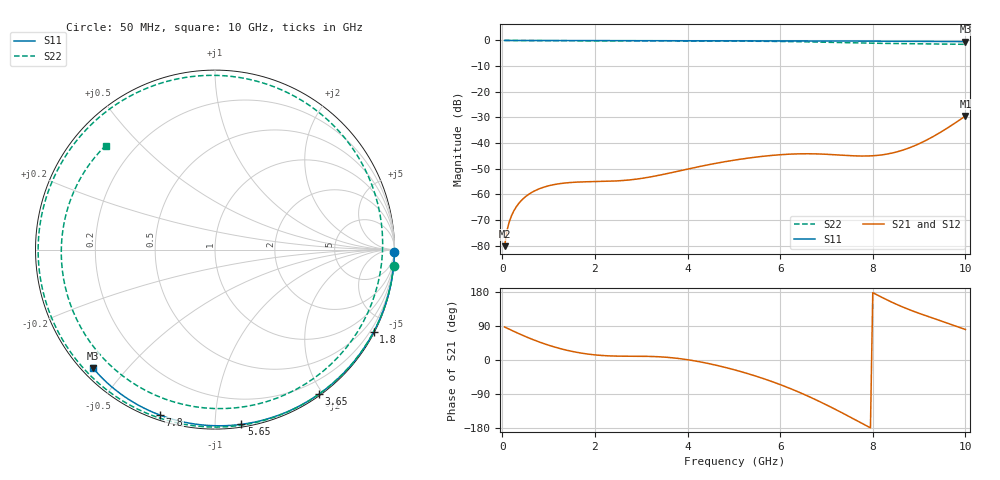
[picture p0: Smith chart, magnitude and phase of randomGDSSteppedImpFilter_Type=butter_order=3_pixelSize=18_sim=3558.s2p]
! freq	dB(S11)	phase(S11)	dB(S12)	phase(S12)
!  dB(S21)	phase(S21)	dB(S22)	phase(S22)
!S-par simulation data
#  GHz  S  DB  R 50
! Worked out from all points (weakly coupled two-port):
!   200 points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, 50 MHz to 10 GHz, reference 50 ohm
!   highest |S21| = -29.46 dB at 10 GHz (marker M1); lowest = -80.2 dB at 50 MHz (marker M2)
!   lowest |S11| = -0.5 dB at 10 GHz (marker M3), VSWR 36.83, Z = 1.58 - j20.3 ohm
!   |S11| at or under -10 dB: nowhere
!   |S22| runs from -1.5 to 0.0 dB; largest |S21 - S12| = 0
!   S11 on the Smith chart (normalised r, x): 50 MHz: open; 1.8 GHz: 0.04, -4.10; 3.65 GHz: 0.02, -1.95; 5.65 GHz: 0.02, -1.16; 7.8 GHz: 0.02, -0.72; 10 GHz: 0.03, -0.41
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0.05  -0.00 -0.8  -80.25 87.1  -80.25 87.1  -0.00 -5.1
0.1  -0.00 -1.6  -74.25 84.1  -74.25 84.1  -0.01 -10.1
0.2  -0.00 -3.1  -68.32 78.4  -68.32 78.4  -0.02 -20.1
0.5  -0.01 -7.7  -60.97 61.9  -60.97 61.9  -0.06 -48.7
1.05  -0.02 -16.1  -56.48 37.1  -56.48 37.1  -0.10 -93.2
1.75  -0.03 -26.7  -55.16 17.3  -55.16 17.3  -0.11 -135.1
1.8  -0.03 -27.4  -55.13 16.4  -55.13 16.4  -0.11 -137.6
2.55  -0.05 -38.5  -54.70 10.1  -54.70 10.1  -0.12 -170.8
3.4  -0.07 -50.8  -52.54 8.4  -52.54 8.4  -0.15 157.2
3.65  -0.07 -54.4  -51.58 6.1  -51.58 6.1  -0.16 148.1
4.4  -0.09 -64.8  -48.66 -8.0  -48.66 -8.0  -0.20 120.1
5.05  -0.11 -73.6  -46.57 -27.1  -46.57 -27.1  -0.25 93.4
5.65  -0.13 -81.5  -45.14 -49.5  -45.14 -49.5  -0.33 64.9
6.15  -0.16 -87.9  -44.40 -71.9  -44.40 -71.9  -0.42 37.3
6.7  -0.18 -94.9  -44.22 -100.9  -44.22 -100.9  -0.58 2.2
7.2  -0.21 -101.1  -44.61 -130.8  -44.61 -130.8  -0.77 -33.5
7.8  -0.25 -108.4  -45.08 -169.4  -45.08 -169.4  -1.00 -78.8
8.35  -0.29 -115.1  -44.18 156.1  -44.18 156.1  -1.17 -119.2
8.75  -0.33 -120.0  -42.15 134.7  -42.15 134.7  -1.26 -146.6
9.15  -0.36 -124.8  -38.98 116.7  -38.98 116.7  -1.33 -172.3
9.55  -0.41 -129.8  -34.86 99.9  -34.86 99.9  -1.39 163.3
10  -0.47 -135.7  -29.46 80.6  -29.46 80.6  -1.51 136.5
